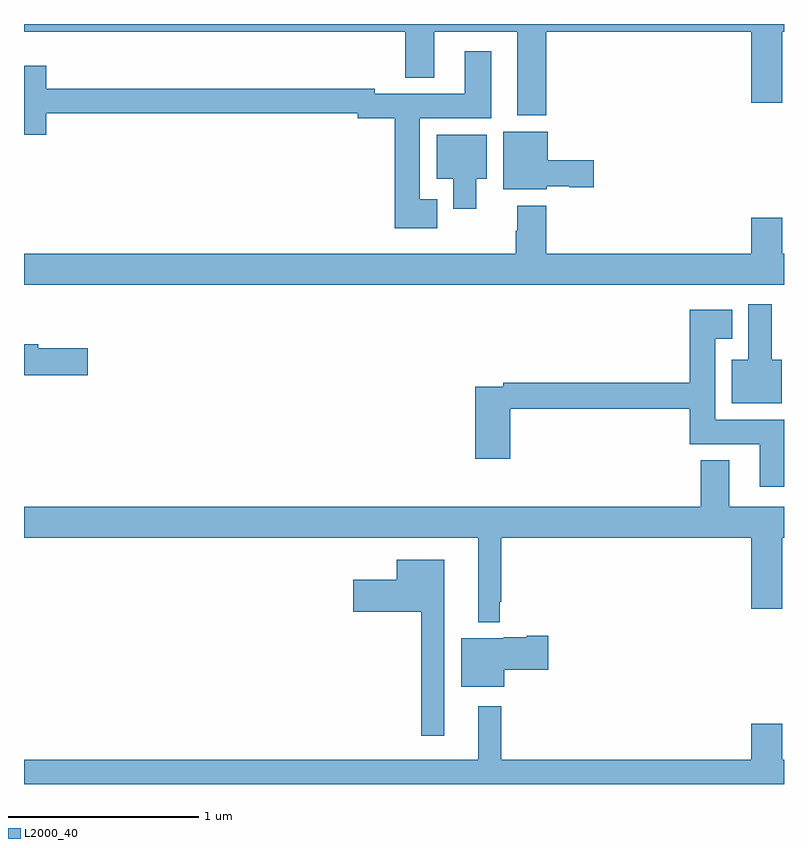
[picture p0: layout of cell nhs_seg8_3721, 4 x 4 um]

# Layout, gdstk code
import gdstk
lib = gdstk.Library(unit=1e-6, precision=1e-09)
def P(c, l, *ps):  # polygons
    for p in ps: c.add(gdstk.Polygon(p, *l))
L2000_40 = (2000, 40)

nhs_seg8_3721 = lib.new_cell('nhs_seg8_3721')
P(nhs_seg8_3721, L2000_40, [(343.748,1089.86),(344.828,1089.86),(344.828,1089.486),(344.992,1089.486),(344.992,1089.86),(345,1089.86),(345,1089.9),(341,1089.9),(341,1089.86),(343.007,1089.86),(343.007,1089.617),(343.159,1089.617),(343.159,1089.86),(343.595,1089.86),(343.595,1089.419),(343.748,1089.419)],
  [(343.174,1088.977),(343.084,1088.977),(343.084,1089.404),(343.459,1089.404),(343.459,1089.757),(343.319,1089.757),(343.319,1089.532),(342.846,1089.532),(342.846,1089.559),(341.117,1089.559),(341.117,1089.679),(341,1089.679),(341,1089.318),(341.117,1089.318),(341.117,1089.43),(342.756,1089.43),(342.756,1089.403),(342.95,1089.403),(342.95,1088.825),(343.174,1088.825)],
  [(343.752,1089.047),(343.869,1089.047),(343.869,1089.04),(343.999,1089.04),(343.999,1089.182),(343.756,1089.182),(343.756,1089.334),(343.523,1089.334),(343.523,1089.029),(343.752,1089.029)],
  [(343.381,1089.086),(343.435,1089.086),(343.435,1089.316),(343.172,1089.316),(343.172,1089.086),(343.259,1089.086),(343.259,1088.928),(343.381,1088.928)],
  [(345,1088.692),(344.992,1088.692),(344.992,1088.881),(344.828,1088.881),(344.828,1088.692),(343.748,1088.692),(343.748,1088.944),(343.595,1088.944),(343.595,1088.813),(343.588,1088.813),(343.588,1088.692),(341,1088.692),(341,1088.528),(345,1088.528)],
  [(344.989,1088.134),(344.935,1088.134),(344.935,1088.425),(344.813,1088.425),(344.813,1088.134),(344.726,1088.134),(344.726,1087.904),(344.989,1087.904)],
  [(345,1087.816),(344.638,1087.816),(344.638,1088.243),(344.728,1088.243),(344.728,1088.395),(344.504,1088.395),(344.504,1088.012),(343.522,1088.012),(343.522,1087.992),(343.376,1087.992),(343.376,1087.611),(343.559,1087.611),(343.559,1087.876),(344.504,1087.876),(344.504,1087.688),(344.873,1087.688),(344.873,1087.464),(345,1087.464)],
  [(341.335,1088.193),(341.074,1088.193),(341.074,1088.214),(341,1088.214),(341,1088.051),(341.335,1088.051)],
  [(343.505,1086.859),(343.513,1086.859),(343.513,1087.196),(344.828,1087.196),(344.828,1086.822),(344.992,1086.822),(344.992,1087.196),(345,1087.196),(345,1087.36),(344.713,1087.36),(344.713,1087.603),(344.561,1087.603),(344.561,1087.36),(341,1087.36),(341,1087.196),(343.391,1087.196),(343.391,1086.752),(343.505,1086.752)],
  [(343.213,1087.081),(342.962,1087.081),(342.962,1086.976),(342.732,1086.976),(342.732,1086.806),(343.092,1086.806),(343.092,1086.153),(343.213,1086.153)],
  [(343.528,1086.502),(343.759,1086.502),(343.759,1086.68),(343.646,1086.68),(343.646,1086.673),(343.524,1086.673),(343.524,1086.667),(343.301,1086.667),(343.301,1086.413),(343.528,1086.413)],
  [(345,1086.028),(344.992,1086.028),(344.992,1086.217),(344.828,1086.217),(344.828,1086.028),(343.513,1086.028),(343.513,1086.31),(343.391,1086.31),(343.391,1086.028),(341,1086.028),(341,1085.9),(345,1085.9)])

lib.write_gds('nhs_seg8_3721.gds')
